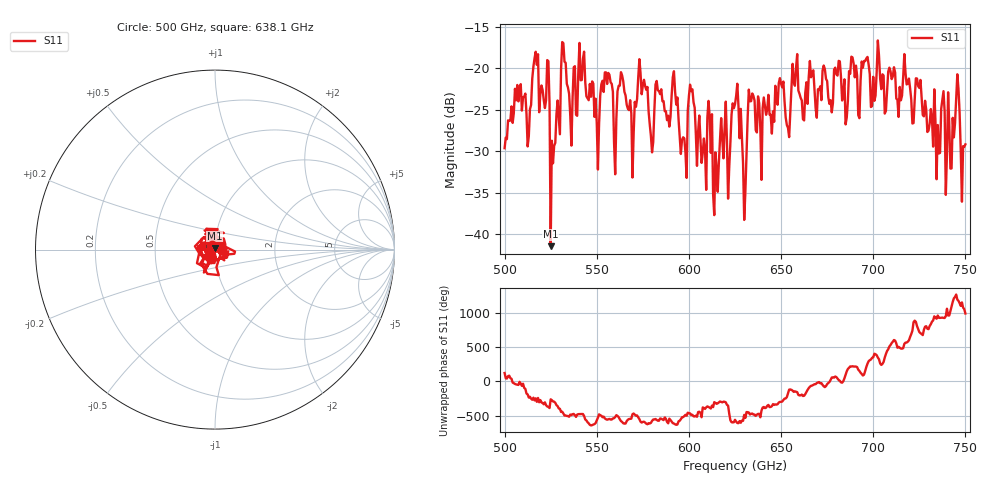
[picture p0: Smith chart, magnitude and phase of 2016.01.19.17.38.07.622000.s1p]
!Created with skrf (http://scikit-rf.org).
# GHz S RI R 50.0
!freq ReS11 ImS11
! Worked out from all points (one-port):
!   401 points, 500 GHz to 750 GHz, reference 50 ohm
!   lowest |S11| = -41.5 dB at 525 GHz (marker M1), VSWR 1.02, Z = 49.9 + j0.833 ohm
!   |S11| at or under -10 dB: start of sweep to end of sweep
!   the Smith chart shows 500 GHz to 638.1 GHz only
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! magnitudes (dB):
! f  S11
! 500 GHz  -29.6
! 506.9 GHz  -22.0
! 513.1 GHz  -28.2
! 516.9 GHz  -18.0
! 525 GHz  -41.5
! 526.2 GHz  -31.5
! 531.2 GHz  -16.8
! 535.6 GHz  -25.7
! 541.9 GHz  -21.4
! 550 GHz  -26.6
! 562.5 GHz  -22.1
! 568.8 GHz  -25.5
! 573.8 GHz  -20.6
! 579.4 GHz  -28.2
! 583.1 GHz  -22.7
! 593.8 GHz  -23.5
! 597.5 GHz  -28.5
! 601.2 GHz  -22.8
! 608.1 GHz  -28.5
! 611.2 GHz  -25.8
! 614.4 GHz  -30.2
! 625 GHz  -24.3
! 630 GHz  -38.3
! 633.8 GHz  -24.0
! 656.2 GHz  -19.5
! 687.5 GHz  -20.7
! 718.8 GHz  -21.8
! 750 GHz  -29.2
